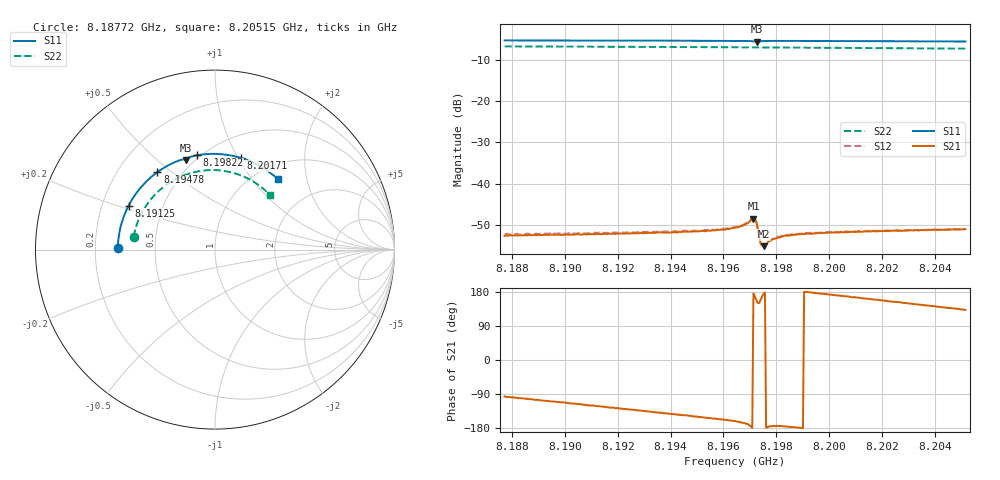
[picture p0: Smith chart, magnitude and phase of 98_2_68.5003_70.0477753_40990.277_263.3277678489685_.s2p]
#  HZ  S  RI  R  50.00
! Rohde & Schwarz Vector Network Analyzer
! Rohde-Schwarz,ZNB20-2Port,1311601062101988,3.16
! Created: UTC 3/20/2024, 5:08:05 PM
! freq[Hz]  re:S11  im:S11  re:S21  im:S21  re:S12  im:S12  re:S22  im:S22
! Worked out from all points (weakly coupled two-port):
!   401 points, 8.18772 GHz to 8.20515 GHz, reference 50 ohm
!   highest |S21| = -48.52 dB at 8.19713 GHz (marker M1); lowest = -55.2 dB at 8.19753 GHz (marker M2)
!   lowest |S11| = -5.6 dB at 8.19727 GHz (marker M3), VSWR 3.20, Z = 22.7 + j31.1 ohm
!   |S11| at or under -10 dB: nowhere
!   |S22| runs from -7.3 to -6.8 dB; largest |S21 - S12| = 0.00021
!   S11 on the Smith chart (normalised r, x): 8.18772 GHz: 0.30, +0.01; 8.19125 GHz: 0.31, +0.22; 8.19478 GHz: 0.37, +0.45; 8.19822 GHz: 0.48, +0.70; 8.20171 GHz: 0.72, +1.03; 8.20515 GHz: 1.26, +1.36
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8.187721e9  -0.5416 0.00768  -0.000252 -0.00231  -0.000308 -0.00243  -0.4534 0.0716
8.189203e9  -0.5299 0.1107  -0.000705 -0.0023  -0.00078 -0.00234  -0.4319 0.151
8.190641e9  -0.4994 0.2065  -0.00109 -0.00214  -0.00122 -0.00219  -0.3975 0.2231
8.191251e9  -0.4812 0.2454  -0.00127 -0.00209  -0.00138 -0.00211  -0.3792 0.2516
8.193561e9  -0.386 0.3759  -0.00193 -0.00166  -0.00199 -0.00165  -0.2915 0.3455
8.194781e9  -0.3208 0.4318  -0.00222 -0.0014  -0.00233 -0.00134  -0.235 0.3839
8.196002e9  -0.2469 0.4766  -0.00256 -0.00106  -0.00265 -0.00098  -0.1733 0.4134
8.196438e9  -0.2182 0.4897  -0.00277 -0.000952  -0.00281 -0.000852  -0.1501 0.4217
8.196786e9  -0.1941 0.4987  -0.00307 -0.000752  -0.00316 -0.00064  -0.1313 0.4272
8.197135e9  -0.1667 0.5014  -0.00374 0.000286  -0.00381 0.000484  -0.1122 0.4319
8.197222e9  -0.1629 0.4983  -0.00341 0.00113  -0.00344 0.00128  -0.1075 0.433
8.197266e9  -0.1632 0.4976  -0.00289 0.0014  -0.00286 0.00152  -0.1052 0.4334
8.197396e9  -0.1613 0.504  -0.00177 0.000741  -0.00175 0.00083  -0.0982 0.4349
8.19744e9  -0.1588 0.5065  -0.00172 0.000511  -0.00171 0.000561  -0.0958 0.4355
8.197484e9  -0.1559 0.5088  -0.00173 0.000297  -0.00174 0.000373  -0.0932 0.4361
8.197527e9  -0.1527 0.5106  -0.00173 0.00015  -0.00177 0.000236  -0.0908 0.4364
8.197832e9  -0.1305 0.5186  -0.00208 -0.000197  -0.00211 -0.000152  -0.0737 0.4393
8.198225e9  -0.1022 0.5251  -0.00226 -0.000209  -0.00232 -0.000123  -0.0517 0.4415
8.199358e9  -0.0218 0.5334  -0.00244 9.26e-05  -0.00251 0.000222  0.0127 0.4424
8.201711e9  0.1426 0.5116  -0.00247 0.000927  -0.00245 0.00103  0.1435 0.4139
8.202278e9  0.1805 0.4985  -0.0024 0.00113  -0.00241 0.00121  0.1733 0.4011
8.205155e9  0.3519 0.3907  -0.00188 0.00207  -0.00183 0.00215  0.3067 0.3026
